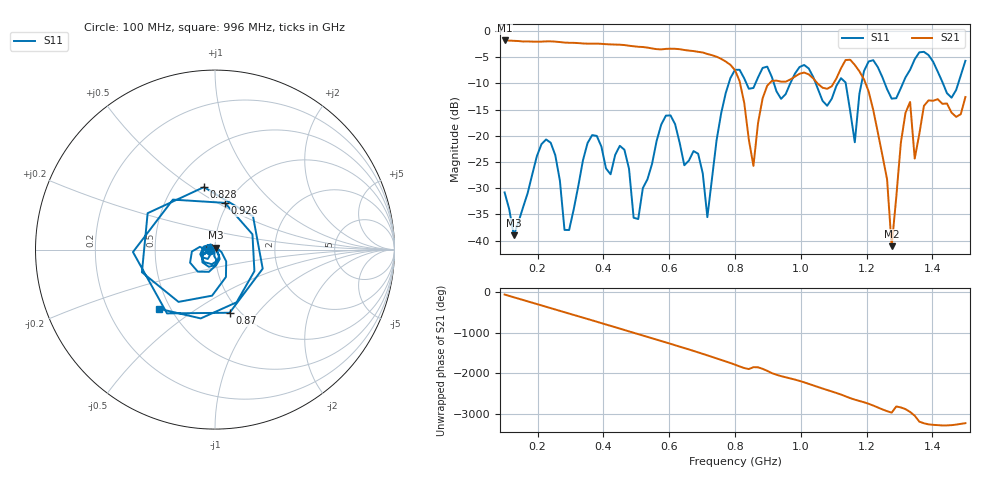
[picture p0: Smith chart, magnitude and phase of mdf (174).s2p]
! NanoVNA-App
! Date: 2025-09-25 15:39:47
! Start: 100MHz Stop: 1,5GHz Points: 101
! S-Parameter data: F S11 S21 S12 S22
# Hz S RI R 50
!  Frequency  S11_Real  S11_Imag  S21_Real  S21_Imag  S12_Real  S12_Imag  S22_Real  S22_Imag
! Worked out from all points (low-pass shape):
!   101 points, 100 MHz to 1.5 GHz, reference 50 ohm
!   highest |S21| = -1.80 dB at 100 MHz (marker M1); lowest = -41.0 dB at 1.276 GHz (marker M2)
!   |S21| within 3 dB of the highest: start of sweep to 739.3 MHz
!   lowest |S11| = -38.9 dB at 128 MHz (marker M3), VSWR 1.02, Z = 50.3 + j1.08 ohm
!   |S11| at or under -10 dB: start of sweep to 781 MHz; 1.045 GHz to 1.112 GHz (67.08 MHz wide, 6.22 % of centre); 1.255 GHz to 1.31 GHz (54.84 MHz wide, 4.28 % of centre) (the widest 3 of 7)
!   S12 and S22 are empty: the file has one direction only
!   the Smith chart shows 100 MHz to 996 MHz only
!   S11 on the Smith chart (normalised r, x): 100 MHz: 0.94, -0.01; 828 MHz: 0.70, +0.56; 870 MHz: 0.90, -0.73; 926 MHz: 0.97, +0.54; 996 MHz: 0.44, -0.36
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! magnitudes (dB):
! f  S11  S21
! 100 MHz  -30.8  -1.8
! 128 MHz  -38.9  -1.9
! 212 MHz  -21.6  -2.0
! 282 MHz  -37.9  -2.2
! 338 MHz  -24.7  -2.4
! 464 MHz  -22.7  -2.7
! 506 MHz  -35.9  -3.0
! 576 MHz  -17.8  -3.5
! 716 MHz  -35.5  -4.4
! 800 MHz  -7.4  -7.5
! 828 MHz  -9.0  -13.7
! 856 MHz  -10.9  -25.7
! 870 MHz  -8.8  -17.5
! 926 MHz  -11.5  -9.5
! 996 MHz  -6.9  -8.2
! 1.038 GHz  -8.8  -9.1
! 1.164 GHz  -21.2  -6.5
! 1.192 GHz  -7.6  -9.2
! 1.276 GHz  -12.9  -41.0
! 1.332 GHz  -7.4  -13.5
! 1.346 GHz  -5.4  -24.3
! 1.5 GHz  -5.7  -12.6
